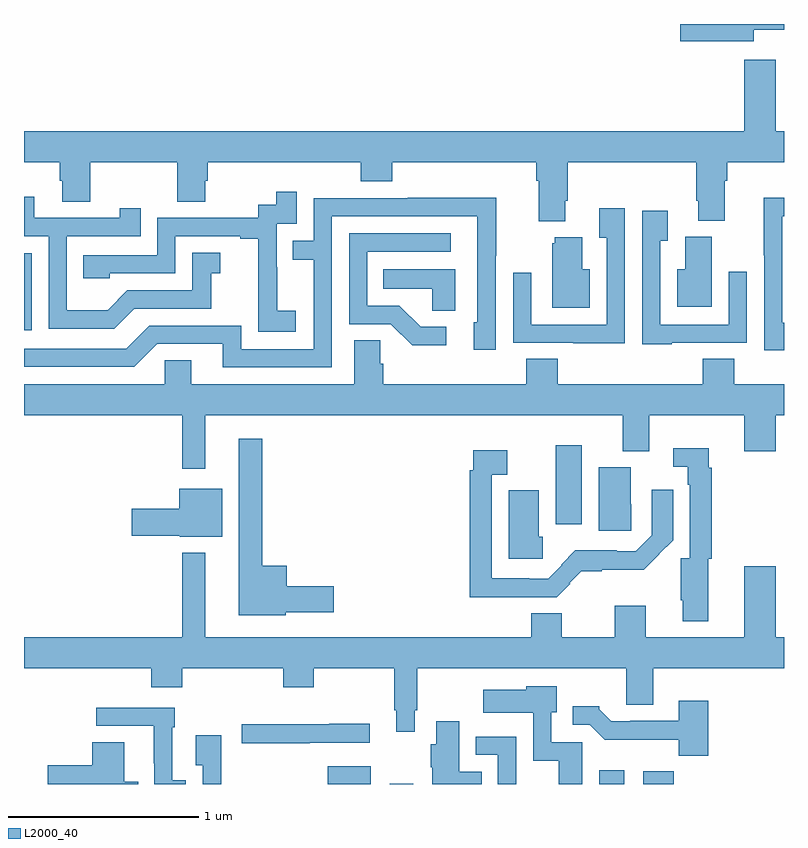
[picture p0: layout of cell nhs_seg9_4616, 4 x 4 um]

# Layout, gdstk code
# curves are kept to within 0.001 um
import gdstk
lib = gdstk.Library(unit=1e-6, precision=1e-09)
def R(c, l, rs):  # rectangles x0, y0, x1, y1
    for r in rs: c.add(gdstk.rectangle(r[:2], r[2:], *l))
def P(c, l, *ps):  # polygons
    for p in ps: c.add(gdstk.Polygon(p, *l))
L2000_40 = (2000, 40)

nhs_seg9_4616 = lib.new_cell('nhs_seg9_4616')
R(nhs_seg9_4616, L2000_40, [(378.599,1174.5,378.826,1174.594), (378.926,1174.5,379.048,1174.501), (380.027,1174.5,380.158,1174.573), (380.258,1174.5,380.42,1174.567), (379.799,1175.868,379.936,1176.283), (377,1176.888,377.04,1177.293)])
P(nhs_seg9_4616, L2000_40, [(380.842,1178.471),(381,1178.471),(381,1178.5),(380.454,1178.5),(380.454,1178.41),(380.842,1178.41)],
  [(379.849,1177.57),(379.862,1177.57),(379.862,1177.772),(380.537,1177.772),(380.537,1177.57),(380.549,1177.57),(380.549,1177.465),(380.689,1177.465),(380.689,1177.676),(380.702,1177.676),(380.702,1177.772),(381,1177.772),(381,1177.936),(380.956,1177.936),(380.956,1178.311),(380.792,1178.311),(380.792,1177.936),(377,1177.936),(377,1177.772),(377.189,1177.772),(377.189,1177.674),(377.201,1177.674),(377.201,1177.564),(377.349,1177.564),(377.349,1177.772),(377.806,1177.772),(377.806,1177.564),(377.953,1177.564),(377.953,1177.674),(377.966,1177.674),(377.966,1177.772),(378.773,1177.772),(378.773,1177.673),(378.938,1177.673),(378.938,1177.772),(379.697,1177.772),(379.697,1177.676),(379.709,1177.676),(379.709,1177.463),(379.849,1177.463)],
  [(378.43,1176.991),(378.332,1176.991),(378.332,1177.22),(378.33,1177.22),(378.33,1177.449),(378.435,1177.449),(378.435,1177.618),(378.327,1177.618),(378.327,1177.548),(378.234,1177.548),(378.234,1177.479),(377.7,1177.479),(377.7,1177.284),(377.311,1177.284),(377.311,1177.161),(377.451,1177.161),(377.451,1177.188),(377.796,1177.188),(377.796,1177.383),(378.137,1177.383),(378.137,1177.371),(378.233,1177.371),(378.233,1177.087),(378.232,1177.087),(378.232,1176.881),(378.43,1176.881)],
  [(377.581,1177.002),(377.985,1177.002),(377.985,1177.187),(378.034,1177.187),(378.034,1177.297),(377.886,1177.297),(377.886,1177.098),(377.544,1177.098),(377.44,1176.994),(377.226,1176.994),(377.226,1177.383),(377.615,1177.383),(377.615,1177.531),(377.504,1177.531),(377.504,1177.479),(377.053,1177.479),(377.053,1177.591),(377,1177.591),(377,1177.383),(377.13,1177.383),(377.13,1176.897),(377.476,1176.897)],
  [(378.621,1177.488),(379.386,1177.488),(379.386,1176.93),(379.367,1176.93),(379.367,1176.786),(379.482,1176.786),(379.482,1177.279),(379.485,1177.279),(379.485,1177.586),(379.021,1177.586),(379.021,1177.584),(378.525,1177.584),(378.525,1177.359),(378.415,1177.359),(378.415,1177.258),(378.525,1177.258),(378.525,1176.789),(378.144,1176.789),(378.144,1176.912),(377.658,1176.912),(377.538,1176.792),(377,1176.792),(377,1176.696),(377.58,1176.696),(377.7,1176.816),(378.047,1176.816),(378.047,1176.693),(378.621,1176.693)],
  [(381,1176.927),(380.991,1176.927),(380.991,1177.488),(381,1177.488),(381,1177.586),(380.894,1177.586),(380.894,1177.282),(380.895,1177.282),(380.895,1176.783),(381,1176.783)],
  [(380.163,1177.531),(380.027,1177.531),(380.027,1177.375),(380.067,1177.375),(380.067,1176.918),(379.671,1176.918),(379.671,1177.192),(379.575,1177.192),(379.575,1176.822),(379.891,1176.822),(379.891,1176.821),(380.163,1176.821)],
  [(380.409,1176.822),(380.805,1176.822),(380.805,1177.195),(380.709,1177.195),(380.709,1176.918),(380.349,1176.918),(380.349,1177.36),(380.389,1177.36),(380.389,1177.516),(380.253,1177.516),(380.253,1176.815),(380.409,1176.815)],
  [(379.222,1176.906),(379.087,1176.906),(378.976,1177.017),(378.807,1177.017),(378.807,1177.302),(379.246,1177.302),(379.246,1177.398),(378.711,1177.398),(378.711,1176.921),(378.93,1176.921),(379.043,1176.809),(379.222,1176.809)],
  [(380.62,1177.38),(380.48,1177.38),(380.48,1177.21),(380.438,1177.21),(380.438,1177.013),(380.62,1177.013)],
  [(379.978,1177.21),(379.939,1177.21),(379.939,1177.378),(379.793,1177.378),(379.793,1177.347),(379.781,1177.347),(379.781,1177.007),(379.978,1177.007)],
  [(379.27,1177.21),(378.892,1177.21),(378.892,1177.106),(379.149,1177.106),(379.149,1176.991),(379.27,1176.991)],
  [(377.953,1176.44),(380.15,1176.44),(380.15,1176.251),(380.29,1176.251),(380.29,1176.44),(380.792,1176.44),(380.792,1176.252),(380.956,1176.252),(380.956,1176.44),(381,1176.44),(381,1176.604),(380.738,1176.604),(380.738,1176.737),(380.573,1176.737),(380.573,1176.604),(379.808,1176.604),(379.808,1176.737),(379.643,1176.737),(379.643,1176.604),(378.89,1176.604),(378.89,1176.713),(378.876,1176.713),(378.876,1176.836),(378.737,1176.836),(378.737,1176.604),(377.881,1176.604),(377.881,1176.731),(377.742,1176.731),(377.742,1176.604),(377,1176.604),(377,1176.44),(377.832,1176.44),(377.832,1176.159),(377.953,1176.159)],
  [(378.378,1175.405),(378.631,1175.405),(378.631,1175.54),(378.382,1175.54),(378.382,1175.65),(378.253,1175.65),(378.253,1176.316),(378.131,1176.316),(378.131,1175.387),(378.378,1175.387)],
  [(380.602,1175.685),(380.621,1175.685),(380.621,1176.164),(380.603,1176.164),(380.603,1176.268),(380.418,1176.268),(380.418,1176.171),(380.493,1176.171),(380.493,1176.074),(380.505,1176.074),(380.505,1175.688),(380.456,1175.688),(380.456,1175.467),(380.468,1175.467),(380.468,1175.357),(380.602,1175.357)],
  [(379.875,1175.553),(379.871,1175.557),(379.933,1175.619),(380.041,1175.619),(380.041,1175.627),(380.261,1175.627),(380.416,1175.784),(380.416,1176.049),(380.304,1176.049),(380.304,1175.808),(380.22,1175.724),(380.12,1175.724),(380.12,1175.729),(379.901,1175.729),(379.827,1175.655),(379.83,1175.652),(379.758,1175.58),(379.658,1175.58),(379.658,1175.584),(379.461,1175.584),(379.461,1176.128),(379.544,1176.128),(379.544,1176.256),(379.365,1176.256),(379.365,1176.152),(379.345,1176.152),(379.345,1175.483),(379.805,1175.483)],
  [(380.196,1175.973),(380.194,1175.973),(380.194,1176.166),(380.024,1176.166),(380.024,1175.832),(380.196,1175.832)],
  [(378.043,1176.055),(377.816,1176.055),(377.816,1175.949),(377.568,1175.949),(377.568,1175.807),(377.82,1175.807),(377.82,1175.801),(378.043,1175.801)],
  [(379.731,1175.802),(379.708,1175.802),(379.708,1176.047),(379.55,1176.047),(379.55,1175.685),(379.731,1175.685)],
  [(379.056,1174.888),(379.069,1174.888),(379.069,1175.108),(380.171,1175.108),(380.171,1174.918),(380.311,1174.918),(380.311,1175.108),(381,1175.108),(381,1175.272),(380.956,1175.272),(380.956,1175.647),(380.792,1175.647),(380.792,1175.272),(380.272,1175.272),(380.272,1175.437),(380.108,1175.437),(380.108,1175.272),(379.831,1175.272),(379.831,1175.398),(379.67,1175.398),(379.67,1175.272),(377.953,1175.272),(377.953,1175.716),(377.832,1175.716),(377.832,1175.272),(377,1175.272),(377,1175.108),(377.669,1175.108),(377.669,1175.009),(377.834,1175.009),(377.834,1175.108),(378.365,1175.108),(378.365,1175.009),(378.525,1175.009),(378.525,1175.108),(378.948,1175.108),(378.948,1174.888),(378.959,1174.888),(378.959,1174.776),(379.056,1174.776)],
  [(379.939,1174.719),(379.776,1174.719),(379.776,1174.878),(379.804,1174.878),(379.804,1175.014),(379.644,1175.014),(379.644,1174.996),(379.416,1174.996),(379.416,1174.874),(379.68,1174.874),(379.68,1174.622),(379.814,1174.622),(379.814,1174.5),(379.939,1174.5)],
  [(380.6,1174.939),(380.447,1174.939),(380.447,1174.833),(380.191,1174.833),(380.191,1174.83),(380.092,1174.83),(380.028,1174.894),(380.028,1174.909),(379.889,1174.909),(379.889,1174.812),(379.977,1174.812),(380.056,1174.734),(380.445,1174.734),(380.445,1174.649),(380.6,1174.649)],
  [(377.851,1174.521),(377.781,1174.521),(377.781,1174.799),(377.794,1174.799),(377.794,1174.902),(377.379,1174.902),(377.379,1174.806),(377.684,1174.806),(377.684,1174.609),(377.685,1174.609),(377.685,1174.5),(377.851,1174.5)],
  [(379.409,1174.564),(379.291,1174.564),(379.291,1174.831),(379.169,1174.831),(379.169,1174.71),(379.141,1174.71),(379.141,1174.588),(379.148,1174.588),(379.148,1174.5),(379.409,1174.5)],
  [(378.503,1174.716),(378.82,1174.716),(378.82,1174.817),(378.607,1174.817),(378.607,1174.814),(378.147,1174.814),(378.147,1174.714),(378.503,1174.714)],
  [(378.039,1174.756),(377.903,1174.756),(377.903,1174.6),(377.94,1174.6),(377.94,1174.5),(378.039,1174.5)],
  [(379.59,1174.749),(379.377,1174.749),(379.377,1174.653),(379.494,1174.653),(379.494,1174.5),(379.59,1174.5)],
  [(377.6,1174.513),(377.527,1174.513),(377.527,1174.721),(377.36,1174.721),(377.36,1174.598),(377.124,1174.598),(377.124,1174.5),(377.6,1174.5)])

lib.write_gds('nhs_seg9_4616.gds')
